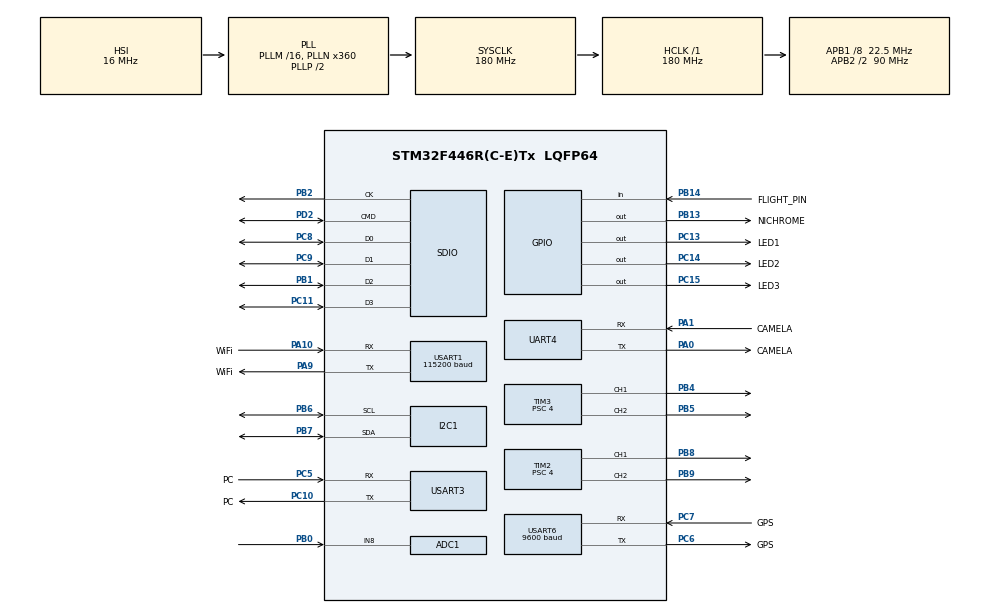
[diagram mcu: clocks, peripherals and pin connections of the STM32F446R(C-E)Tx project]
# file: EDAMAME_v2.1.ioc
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ADC1.Channel-0\#ChannelRegularConversion=ADC_CHANNEL_8
ADC1.NbrOfConversionFlag=1
ADC1.Rank-0\#ChannelRegularConversion=1
ADC1.SamplingTime-0\#ChannelRegularConversion=ADC_SAMPLETIME_3CYCLES
ADC1.master=1
FATFS._CODE_PAGE=1
FATFS._FS_LOCK=4
I2C1.I2C_Mode=I2C_Fast
Mcu.Family=STM32F4
Mcu.Name=STM32F446R(C-E)Tx
Mcu.Package=LQFP64
NVIC.PriorityGroup=NVIC_PRIORITYGROUP_4
NVIC.TIM5_IRQn=true\:0\:0\:false\:false\:true\:true\:true
PA0-WKUP.GPIO_Label=CAMELA
PA0-WKUP.Mode=Asynchronous
PA0-WKUP.Signal=UART4_TX
PA1.GPIO_Label=CAMELA
PA1.Mode=Asynchronous
PA1.Signal=UART4_RX
PA10.GPIO_Label=WiFi
PA10.Mode=Asynchronous
PA10.Signal=USART1_RX
PA13.Mode=Serial_Wire
PA13.Signal=SYS_JTMS-SWDIO
PA14.Mode=Serial_Wire
PA14.Signal=SYS_JTCK-SWCLK
PA9.GPIO_Label=WiFi
PA9.Mode=Asynchronous
PA9.Signal=USART1_TX
PB0.Signal=ADCx_IN8
PB1.GPIO_PuPd=GPIO_PULLUP
PB1.Mode=SD_4_bits_Wide_bus
PB1.Signal=SDIO_D2
PB13.GPIO_Label=NICHROME
PB13.Signal=GPIO_Output
PB14.GPIO_Label=FLIGHT_PIN
PB14.Signal=GPIO_Input
PB2.GPIO_PuPd=GPIO_PULLUP
PB2.Mode=SD_4_bits_Wide_bus
PB2.Signal=SDIO_CK
PB3.Signal=SYS_JTDO-SWO
PB4.Signal=S_TIM3_CH1
PB5.Signal=S_TIM3_CH2
PB6.Mode=I2C
PB6.Signal=I2C1_SCL
PB7.Mode=I2C
PB7.Signal=I2C1_SDA
PB8.Signal=S_TIM2_CH1_ETR
PB9.Signal=S_TIM2_CH2
PC10.GPIO_Label=PC
PC10.Mode=Asynchronous
PC10.Signal=USART3_TX
PC11.GPIO_PuPd=GPIO_PULLUP
PC11.Mode=SD_4_bits_Wide_bus
PC11.Signal=SDIO_D3
PC13.GPIO_Label=LED1
PC13.Signal=GPIO_Output
PC14-OSC32_IN.GPIO_Label=LED2
PC14-OSC32_IN.Signal=GPIO_Output
PC15-OSC32_OUT.GPIO_Label=LED3
PC15-OSC32_OUT.Signal=GPIO_Output
PC5.GPIO_Label=PC
PC5.Mode=Asynchronous
PC5.Signal=USART3_RX
PC6.GPIO_Label=GPS
PC6.Mode=Asynchronous
PC6.Signal=USART6_TX
PC7.GPIO_Label=GPS
PC7.Mode=Asynchronous
PC7.Signal=USART6_RX
PC8.GPIO_PuPd=GPIO_PULLUP
PC8.Mode=SD_4_bits_Wide_bus
PC8.Signal=SDIO_D0
PC9.GPIO_PuPd=GPIO_PULLUP
PC9.Mode=SD_4_bits_Wide_bus
PC9.Signal=SDIO_D1
PD2.GPIO_PuPd=GPIO_PULLUP
PD2.Mode=SD_4_bits_Wide_bus
PD2.Signal=SDIO_CMD
ProjectManager.HeapSize=0x200
ProjectManager.StackSize=0x400
ProjectManager.TargetToolchain=TrueSTUDIO
RCC.AHBFreq_Value=180000000
RCC.APB1CLKDivider=RCC_HCLK_DIV8
RCC.APB1Freq_Value=22500000
RCC.APB1TimFreq_Value=45000000
RCC.APB2CLKDivider=RCC_HCLK_DIV2
RCC.APB2Freq_Value=90000000
RCC.APB2TimFreq_Value=180000000
RCC.CortexFreq_Value=180000000
RCC.HCLKFreq_Value=180000000
RCC.PLLN=360
RCC.PLLQ=15
RCC.PLLSAIN=180
RCC.SYSCLKFreq_VALUE=180000000
RCC.SYSCLKSource=RCC_SYSCLKSOURCE_PLLCLK
RCC.USBFreq_Value=24000000
RCC.VCOOutputFreq_Value=360000000
SDIO.ClockDiv=3
SH.ADCx_IN8.0=ADC1_IN8,IN8
SH.S_TIM2_CH1_ETR.0=TIM2_CH1,PWM Generation1 CH1
SH.S_TIM2_CH2.0=TIM2_CH2,PWM Generation2 CH2
SH.S_TIM3_CH1.0=TIM3_CH1,PWM Generation1 CH1
SH.S_TIM3_CH2.0=TIM3_CH2,PWM Generation2 CH2
TIM2.Channel-PWM\ Generation1\ CH1=TIM_CHANNEL_1
TIM2.Channel-PWM\ Generation2\ CH2=TIM_CHANNEL_2
TIM2.Period=300
TIM2.Prescaler=4
TIM3.Channel-PWM\ Generation1\ CH1=TIM_CHANNEL_1
TIM3.Channel-PWM\ Generation2\ CH2=TIM_CHANNEL_2
TIM3.Period=300
TIM3.Prescaler=4
TIM5.AutoReloadPreload=TIM_AUTORELOAD_PRELOAD_ENABLE
TIM5.Period=LOOP_TIME
TIM5.Prescaler=45000
UART4.VirtualMode=Asynchronous
USART1.BaudRate=115200
USART1.VirtualMode=VM_ASYNC
USART3.VirtualMode=VM_ASYNC
USART6.BaudRate=9600
USART6.VirtualMode=VM_ASYNC
VP_FATFS_VS_SDIO.Mode=SDIO
VP_TIM5_VS_ClockSourceINT.Mode=Internal
board=EDAMAME

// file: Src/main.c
/* USER CODE BEGIN Header */
/**
  ******************************************************************************
  * @file           : main.c
  * @brief          : Main program body
  ******************************************************************************
  * @attention
  *
  * <h2><center>&copy; Copyright (c) 2019 STMicroelectronics.
  * All rights reserved.</center></h2>
  *
  * This software component is licensed by ST under Ultimate Liberty license
  * SLA0044, the "License"; You may not use this file except in compliance with
  * the License. You may obtain a copy of the License at:
  *                             www.st.com/SLA0044
  *
  ******************************************************************************
  */
/* USER CODE END Header */

#include "main.h"
#include "fatfs.h"

/* USER CODE BEGIN Includes */
#include "edamame.h"
/* USER CODE END Includes */

ADC_HandleTypeDef hadc1;

I2C_HandleTypeDef hi2c1;

SD_HandleTypeDef hsd;

TIM_HandleTypeDef htim2;
TIM_HandleTypeDef htim3;
TIM_HandleTypeDef htim5;

UART_HandleTypeDef huart4;
UART_HandleTypeDef huart1;
UART_HandleTypeDef huart3;
UART_HandleTypeDef huart6;

/* USER CODE BEGIN PV */
/* Private variables ---------------------------------------------------------*/
#ifdef __GNUC__
#define PUTCHAR_PROTOTYPE int __io_putchar(int ch)
#else
#define PUTCHAR_PROTOTYPE int fputc(int ch, FILE *f)
#endif /* __GNUC__ */
void __io_putchar(uint8_t ch) {
	HAL_UART_Transmit(&huart3, &ch, 1, 1);
}

/* USER CODE END PV */

void SystemClock_Config(void);
static void MX_GPIO_Init(void);
static void MX_UART4_Init(void);
static void MX_USART6_UART_Init(void);
static void MX_USART1_UART_Init(void);
static void MX_TIM2_Init(void);
static void MX_TIM3_Init(void);
static void MX_I2C1_Init(void);
static void MX_SDIO_SD_Init(void);
static void MX_USART3_UART_Init(void);
static void MX_TIM5_Init(void);
static void MX_ADC1_Init(void);
/* USER CODE BEGIN PFP */
/* Private function prototypes -----------------------------------------------*/

/* USER CODE END PFP */

/* USER CODE BEGIN 0 */
void apply(myCansat *data) {
	int L = data->motor_L;
	int R = data->motor_R;

	if (L > 0) {
		__HAL_TIM_SetCompare(&htim2, TIM_CHANNEL_1, L);
		__HAL_TIM_SetCompare(&htim2, TIM_CHANNEL_2, 0);
	} else {
		__HAL_TIM_SetCompare(&htim2, TIM_CHANNEL_1, 0);
		__HAL_TIM_SetCompare(&htim2, TIM_CHANNEL_2, -L);
	}

	if (R > 0) {
		__HAL_TIM_SetCompare(&htim3, TIM_CHANNEL_1, 0);
		__HAL_TIM_SetCompare(&htim3, TIM_CHANNEL_2, R);
	} else {
		__HAL_TIM_SetCompare(&htim3, TIM_CHANNEL_1, -R);
		__HAL_TIM_SetCompare(&htim3, TIM_CHANNEL_2, 0);
	}

	HAL_GPIO_WritePin(NICHROME_GPIO_Port, NICHROME_Pin, data->nichrome);
	return;
}

int time_overflow = 0;
void HAL_TIM_PeriodElapsedCallback(TIM_HandleTypeDef *htim) {
	if (htim == &htim5) {
		__HAL_TIM_SetCompare(&htim2, TIM_CHANNEL_1, 0);
		__HAL_TIM_SetCompare(&htim2, TIM_CHANNEL_2, 0);
		__HAL_TIM_SetCompare(&htim3, TIM_CHANNEL_1, 0);
		__HAL_TIM_SetCompare(&htim3, TIM_CHANNEL_2, 0);
		time_overflow++;
		printf("%d\n",time_overflow);
	}
}

int get_battery() {
	int v;
	HAL_ADC_Start(&hadc1);
	HAL_ADC_PollForConversion(&hadc1, 100);
	v = HAL_ADC_GetValue(&hadc1);
	HAL_ADC_Stop(&hadc1);
	v = v * 10000 / 3101;
	return v;
}
/* USER CODE END 0 */

int main(void)
{

  /* MCU Configuration--------------------------------------------------------*/

  /* Reset of all peripherals, Initializes the Flash interface and the Systick. */
  HAL_Init();

  /* Configure the system clock */
  SystemClock_Config();

  /* Initialize all configured peripherals */
  MX_GPIO_Init();
  MX_UART4_Init();
  MX_USART6_UART_Init();
  MX_USART1_UART_Init();
  MX_TIM2_Init();
  MX_TIM3_Init();
  MX_I2C1_Init();
  MX_SDIO_SD_Init();
  MX_USART3_UART_Init();
  MX_FATFS_Init();
  MX_TIM5_Init();
  MX_ADC1_Init();
  /* USER CODE BEGIN 2 */

	myCansat cansat;

	cansat.i2c = &hi2c1;
	cansat.uart_gps = &huart6;
	cansat.uart_wifi = &huart1;

	cansat.camera.uart_port = &huart4;
	cansat.camera.packet_size = 256;
	cansat.camera.baudrate = 460800;
	cansat.camera.resolution = QVGA;

	//PWM初期化
	HAL_TIM_PWM_Start(&htim2, TIM_CHANNEL_1);
	HAL_TIM_PWM_Start(&htim2, TIM_CHANNEL_2);
	HAL_TIM_PWM_Start(&htim3, TIM_CHANNEL_1);
	HAL_TIM_PWM_Start(&htim3, TIM_CHANNEL_2);
	__HAL_TIM_SetCompare(&htim2, TIM_CHANNEL_1, 0);
	__HAL_TIM_SetCompare(&htim2, TIM_CHANNEL_2, 0);
	__HAL_TIM_SetCompare(&htim3, TIM_CHANNEL_1, 0);
	__HAL_TIM_SetCompare(&htim3, TIM_CHANNEL_2, 0);

	//初期化
	init(&cansat);
	HAL_TIM_Base_Start_IT(&htim5);

	cansat.jpeg.mode = ENABLE;

	if (HAL_GPIO_ReadPin(FLIGHT_PIN_GPIO_Port, FLIGHT_PIN_Pin) == GPIO_PIN_RESET) {
		cansat.mode = 0;
	} else {
		cansat.mode = 2;
	}

  /* USER CODE END 2 */

  /* Infinite loop */
  /* USER CODE BEGIN WHILE */
	unsigned long cnt = 1;

	int xp=0; //画像検出時の1つ前の回転状態
	int dc[5];//重心の変化量(過去5回)
	int xc_p = 0, yc_p = 0;//１つ前の重心
	int n =0;
	while (1) {
    /* USER CODE END WHILE */

    /* USER CODE BEGIN 3 */

		TIM5->CNT = 0;
		update(&cansat);
		cansat.voltage = get_battery();

		if (cansat.gps_data.mode >= 1) {
			HAL_GPIO_TogglePin(LED3_GPIO_Port, LED3_Pin);
		}

		//cansat.mode =0;
		switch (cansat.mode) {

		case 0: //待機
			cansat.jpeg.mode = DISABLE;
			if (cansat.flightPin == GPIO_PIN_SET) {
				cansat.mode++;
				cnt = 0;
			}
			break;

		case 1: //落下・分離
			cansat.jpeg.mode = ENABLE;
			if (cnt >= DROP_TIME * (1000 / LOOP_TIME)) {

				cansat.nichrome = GPIO_PIN_SET;

				if (cnt > (DROP_TIME + 1)*(1000 / LOOP_TIME)) {
					cansat.nichrome = GPIO_PIN_RESET;
					cansat.mode++;
					cnt = 0;
				}
			}
			break;

		case 2: //キャリブレーション
			cansat.jpeg.mode = DISABLE;
			calibration(&cansat, 30, cnt);
			if (cansat.mode != 2) {
				cansat.jpeg.mode = ENABLE;

				cnt = 0;
			}
			break;

		case 3://誘導
			cansat.jpeg.mode = ENABLE;
			if (cansat.gps_data.mode >= 1) {
				if (cansat.arg < -1.3) {
					cansat.motor_L = 100;
					cansat.motor_R = 150;
				}
				if (-1.3 <= cansat.arg && cansat.arg < -0.3) {
					cansat.motor_L = 120;
					cansat.motor_R = 170;
				}
				if (-0.3 <= cansat.arg && cansat.arg < +0.3) {
					cansat.motor_L = 170;
					cansat.motor_R = 170;
				}
				if (+0.3 <= cansat.arg && cansat.arg < +1.3) {
					cansat.motor_L = 170;
					cansat.motor_R = 120;
				}
				if (+1.3 <= cansat.arg) {
					cansat.motor_L = 150;
					cansat.motor_R = 100;
				}
			} else {
				cansat.motor_L = 80;
				cansat.motor_R = 120;
			}
			if (cansat.gps_data.dist < GOAL_ALEA2) {
				cansat.motor_L = 0;
				cansat.motor_R = 0;
				cansat.mode++;
				cnt = 0;
			}
			break;

		case 4://画像認識
			decode(&cansat);
			if (cansat.jpeg.s > 0) {	//カラーコーンを見つけた場合
				if (cansat.jpeg.s > SQUARE) {
					//右
					if (cansat.jpeg.xc < 60) {
						xp = 1;
						cansat.motor_L = 100;
						cansat.motor_R = 80;
					}
					//やや右
					if (cansat.jpeg.xc >= 60 && cansat.jpeg.xc < 120) {
						xp = 1;
						cansat.motor_L = 120;
						cansat.motor_R = 115;
					}
					//中央
					if (cansat.jpeg.xc >= 120 && cansat.jpeg.xc < 200) {
						xp = 0;
						cansat.motor_L = 120;
						cansat.motor_R = 120;
					}
					//やや左
					if (cansat.jpeg.xc >= 200 && cansat.jpeg.xc < 260) {
						xp = -1;
						cansat.motor_L = 105;
						cansat.motor_R = 115;
					}
					//左
					if (cansat.jpeg.xc >= 260) {
						xp = -1;
						cansat.motor_L = 80;
						cansat.motor_R = 100;
					}

					//ゴール判定
					dc[4] = dc[3]; dc[3] = dc[2]; dc[2] = dc[1]; dc[1] = dc[0];
					dc[0] = (xc_p - cansat.jpeg.xc)*(xc_p - cansat.jpeg.xc) + (yc_p - cansat.jpeg.yc)*(yc_p - cansat.jpeg.yc);
					xc_p = cansat.jpeg.xc;
					yc_p = cansat.jpeg.yc;
					if (n > 5) {
						int dc_sum = dc[0] + dc[1] + dc[2] + dc[3] + dc[4];
						if (dc_sum < GOAL)break;
					}
					n++;

				} else {
					if (xp == 1) {
						cansat.motor_R = 85;
						cansat.motor_L = 95;
					} else {
						cansat.motor_R = 95;
						cansat.motor_L = 85;
					}
				}

			} else {	//無かった場合
				cansat.jpeg.xc = -1;
				cansat.jpeg.yc = -1;
				if (xp == 1) {
					cansat.motor_R = 80;
					cansat.motor_L = 100;
				} else {
					cansat.motor_R = 80;
					cansat.motor_L = 100;
				}
			}
			break;

		case 5://ゴール
			cansat.motor_L = 0;
			cansat.motor_R = 0;
			cansat.nichrome = 0;
			HAL_GPIO_TogglePin(LED2_GPIO_Port, LED2_Pin);

		default:
			cansat.motor_L = 0;
			cansat.motor_R = 0;
			cansat.nichrome = 0;
			break;
		}

		apply(&cansat);

		cnt++;
		write(&cansat);
		print(&cansat);
		if (time_overflow == 0) {
			while (TIM5->CNT < LOOP_TIME);
		}
		time_overflow = 0;
		HAL_GPIO_TogglePin(LED1_GPIO_Port, LED1_Pin);
	}
  /* USER CODE END 3 */
}

void SystemClock_Config(void)
{
  RCC_OscInitTypeDef RCC_OscInitStruct = {0};
  RCC_ClkInitTypeDef RCC_ClkInitStruct = {0};
  RCC_PeriphCLKInitTypeDef PeriphClkInitStruct = {0};

  /** Configure the main internal regulator output voltage
  */
  __HAL_RCC_PWR_CLK_ENABLE();
  __HAL_PWR_VOLTAGESCALING_CONFIG(PWR_REGULATOR_VOLTAGE_SCALE1);
  /** Initializes the CPU, AHB and APB busses clocks
  */
  RCC_OscInitStruct.OscillatorType = RCC_OSCILLATORTYPE_HSI;
  RCC_OscInitStruct.HSIState = RCC_HSI_ON;
  RCC_OscInitStruct.HSICalibrationValue = RCC_HSICALIBRATION_DEFAULT;
  RCC_OscInitStruct.PLL.PLLState = RCC_PLL_ON;
  RCC_OscInitStruct.PLL.PLLSource = RCC_PLLSOURCE_HSI;
  RCC_OscInitStruct.PLL.PLLM = 16;
  RCC_OscInitStruct.PLL.PLLN = 360;
  RCC_OscInitStruct.PLL.PLLP = RCC_PLLP_DIV2;
  RCC_OscInitStruct.PLL.PLLQ = 15;
  RCC_OscInitStruct.PLL.PLLR = 2;
  if (HAL_RCC_OscConfig(&RCC_OscInitStruct) != HAL_OK)
  {
    Error_Handler();
  }
  /** Activate the Over-Drive mode
  */
  if (HAL_PWREx_EnableOverDrive() != HAL_OK)
  {
    Error_Handler();
  }
  /** Initializes the CPU, AHB and APB busses clocks
  */
  RCC_ClkInitStruct.ClockType = RCC_CLOCKTYPE_HCLK|RCC_CLOCKTYPE_SYSCLK
                              |RCC_CLOCKTYPE_PCLK1|RCC_CLOCKTYPE_PCLK2;
  RCC_ClkInitStruct.SYSCLKSource = RCC_SYSCLKSOURCE_PLLCLK;
  RCC_ClkInitStruct.AHBCLKDivider = RCC_SYSCLK_DIV1;
  RCC_ClkInitStruct.APB1CLKDivider = RCC_HCLK_DIV8;
  RCC_ClkInitStruct.APB2CLKDivider = RCC_HCLK_DIV2;

  if (HAL_RCC_ClockConfig(&RCC_ClkInitStruct, FLASH_LATENCY_5) != HAL_OK)
  {
    Error_Handler();
  }
  PeriphClkInitStruct.PeriphClockSelection = RCC_PERIPHCLK_SDIO|RCC_PERIPHCLK_CLK48;
  PeriphClkInitStruct.Clk48ClockSelection = RCC_CLK48CLKSOURCE_PLLQ;
  PeriphClkInitStruct.SdioClockSelection = RCC_SDIOCLKSOURCE_CLK48;
  if (HAL_RCCEx_PeriphCLKConfig(&PeriphClkInitStruct) != HAL_OK)
  {
    Error_Handler();
  }
}

static void MX_ADC1_Init(void)
{

  ADC_ChannelConfTypeDef sConfig = {0};

  /** Configure the global features of the ADC (Clock, Resolution, Data Alignment and number of conversion)
  */
  hadc1.Instance = ADC1;
  hadc1.Init.ClockPrescaler = ADC_CLOCK_SYNC_PCLK_DIV4;
  hadc1.Init.Resolution = ADC_RESOLUTION_12B;
  hadc1.Init.ScanConvMode = DISABLE;
  hadc1.Init.ContinuousConvMode = DISABLE;
  hadc1.Init.DiscontinuousConvMode = DISABLE;
  hadc1.Init.ExternalTrigConvEdge = ADC_EXTERNALTRIGCONVEDGE_NONE;
  hadc1.Init.ExternalTrigConv = ADC_SOFTWARE_START;
  hadc1.Init.DataAlign = ADC_DATAALIGN_RIGHT;
  hadc1.Init.NbrOfConversion = 1;
  hadc1.Init.DMAContinuousRequests = DISABLE;
  hadc1.Init.EOCSelection = ADC_EOC_SINGLE_CONV;
  if (HAL_ADC_Init(&hadc1) != HAL_OK)
  {
    Error_Handler();
  }
  /** Configure for the selected ADC regular channel its corresponding rank in the sequencer and its sample time.
  */
  sConfig.Channel = ADC_CHANNEL_8;
  sConfig.Rank = 1;
  sConfig.SamplingTime = ADC_SAMPLETIME_3CYCLES;
  if (HAL_ADC_ConfigChannel(&hadc1, &sConfig) != HAL_OK)
  {
    Error_Handler();
  }

}

static void MX_I2C1_Init(void)
{

  hi2c1.Instance = I2C1;
  hi2c1.Init.ClockSpeed = 400000;
  hi2c1.Init.DutyCycle = I2C_DUTYCYCLE_2;
  hi2c1.Init.OwnAddress1 = 0;
  hi2c1.Init.AddressingMode = I2C_ADDRESSINGMODE_7BIT;
  hi2c1.Init.DualAddressMode = I2C_DUALADDRESS_DISABLE;
  hi2c1.Init.OwnAddress2 = 0;
  hi2c1.Init.GeneralCallMode = I2C_GENERALCALL_DISABLE;
  hi2c1.Init.NoStretchMode = I2C_NOSTRETCH_DISABLE;
  if (HAL_I2C_Init(&hi2c1) != HAL_OK)
  {
    Error_Handler();
  }

}

static void MX_SDIO_SD_Init(void)
{

  hsd.Instance = SDIO;
  hsd.Init.ClockEdge = SDIO_CLOCK_EDGE_RISING;
  hsd.Init.ClockBypass = SDIO_CLOCK_BYPASS_DISABLE;
  hsd.Init.ClockPowerSave = SDIO_CLOCK_POWER_SAVE_DISABLE;
  hsd.Init.BusWide = SDIO_BUS_WIDE_1B;
  hsd.Init.HardwareFlowControl = SDIO_HARDWARE_FLOW_CONTROL_DISABLE;
  hsd.Init.ClockDiv = 3;

}

static void MX_TIM2_Init(void)
{

  TIM_MasterConfigTypeDef sMasterConfig = {0};
  TIM_OC_InitTypeDef sConfigOC = {0};

  htim2.Instance = TIM2;
  htim2.Init.Prescaler = 4;
  htim2.Init.CounterMode = TIM_COUNTERMODE_UP;
  htim2.Init.Period = 300;
  htim2.Init.ClockDivision = TIM_CLOCKDIVISION_DIV1;
  htim2.Init.AutoReloadPreload = TIM_AUTORELOAD_PRELOAD_DISABLE;
  if (HAL_TIM_PWM_Init(&htim2) != HAL_OK)
  {
    Error_Handler();
  }
  sMasterConfig.MasterOutputTrigger = TIM_TRGO_RESET;
  sMasterConfig.MasterSlaveMode = TIM_MASTERSLAVEMODE_DISABLE;
  if (HAL_TIMEx_MasterConfigSynchronization(&htim2, &sMasterConfig) != HAL_OK)
  {
    Error_Handler();
  }
  sConfigOC.OCMode = TIM_OCMODE_PWM1;
  sConfigOC.Pulse = 0;
  sConfigOC.OCPolarity = TIM_OCPOLARITY_HIGH;
  sConfigOC.OCFastMode = TIM_OCFAST_DISABLE;
  if (HAL_TIM_PWM_ConfigChannel(&htim2, &sConfigOC, TIM_CHANNEL_1) != HAL_OK)
  {
    Error_Handler();
  }
  if (HAL_TIM_PWM_ConfigChannel(&htim2, &sConfigOC, TIM_CHANNEL_2) != HAL_OK)
  {
    Error_Handler();
  }
  HAL_TIM_MspPostInit(&htim2);

}

static void MX_TIM3_Init(void)
{

  TIM_MasterConfigTypeDef sMasterConfig = {0};
  TIM_OC_InitTypeDef sConfigOC = {0};

  htim3.Instance = TIM3;
  htim3.Init.Prescaler = 4;
  htim3.Init.CounterMode = TIM_COUNTERMODE_UP;
  htim3.Init.Period = 300;
  htim3.Init.ClockDivision = TIM_CLOCKDIVISION_DIV1;
  htim3.Init.AutoReloadPreload = TIM_AUTORELOAD_PRELOAD_DISABLE;
  if (HAL_TIM_PWM_Init(&htim3) != HAL_OK)
  {
    Error_Handler();
  }
  sMasterConfig.MasterOutputTrigger = TIM_TRGO_RESET;
  sMasterConfig.MasterSlaveMode = TIM_MASTERSLAVEMODE_DISABLE;
  if (HAL_TIMEx_MasterConfigSynchronization(&htim3, &sMasterConfig) != HAL_OK)
  {
    Error_Handler();
  }
  sConfigOC.OCMode = TIM_OCMODE_PWM1;
  sConfigOC.Pulse = 0;
  sConfigOC.OCPolarity = TIM_OCPOLARITY_HIGH;
  sConfigOC.OCFastMode = TIM_OCFAST_DISABLE;
  if (HAL_TIM_PWM_ConfigChannel(&htim3, &sConfigOC, TIM_CHANNEL_1) != HAL_OK)
  {
    Error_Handler();
  }
  if (HAL_TIM_PWM_ConfigChannel(&htim3, &sConfigOC, TIM_CHANNEL_2) != HAL_OK)
  {
    Error_Handler();
  }
  HAL_TIM_MspPostInit(&htim3);

}

static void MX_TIM5_Init(void)
{

  TIM_ClockConfigTypeDef sClockSourceConfig = {0};
  TIM_MasterConfigTypeDef sMasterConfig = {0};

  htim5.Instance = TIM5;
  htim5.Init.Prescaler = 45000;
  htim5.Init.CounterMode = TIM_COUNTERMODE_UP;
  htim5.Init.Period = LOOP_TIME;
  htim5.Init.ClockDivision = TIM_CLOCKDIVISION_DIV1;
  htim5.Init.AutoReloadPreload = TIM_AUTORELOAD_PRELOAD_ENABLE;
  if (HAL_TIM_Base_Init(&htim5) != HAL_OK)
  {
    Error_Handler();
  }
  sClockSourceConfig.ClockSource = TIM_CLOCKSOURCE_INTERNAL;
  if (HAL_TIM_ConfigClockSource(&htim5, &sClockSourceConfig) != HAL_OK)
  {
    Error_Handler();
  }
  sMasterConfig.MasterOutputTrigger = TIM_TRGO_RESET;
  sMasterConfig.MasterSlaveMode = TIM_MASTERSLAVEMODE_DISABLE;
  if (HAL_TIMEx_MasterConfigSynchronization(&htim5, &sMasterConfig) != HAL_OK)
  {
    Error_Handler();
  }

}

static void MX_UART4_Init(void)
{

  huart4.Instance = UART4;
  huart4.Init.BaudRate = 115200;
  huart4.Init.WordLength = UART_WORDLENGTH_8B;
  huart4.Init.StopBits = UART_STOPBITS_1;
  huart4.Init.Parity = UART_PARITY_NONE;
  huart4.Init.Mode = UART_MODE_TX_RX;
  huart4.Init.HwFlowCtl = UART_HWCONTROL_NONE;
  huart4.Init.OverSampling = UART_OVERSAMPLING_16;
  if (HAL_UART_Init(&huart4) != HAL_OK)
  {
    Error_Handler();
  }

}

static void MX_USART1_UART_Init(void)
{

  huart1.Instance = USART1;
  huart1.Init.BaudRate = 115200;
  huart1.Init.WordLength = UART_WORDLENGTH_8B;
  huart1.Init.StopBits = UART_STOPBITS_1;
  huart1.Init.Parity = UART_PARITY_NONE;
  huart1.Init.Mode = UART_MODE_TX_RX;
  huart1.Init.HwFlowCtl = UART_HWCONTROL_NONE;
  huart1.Init.OverSampling = UART_OVERSAMPLING_16;
  if (HAL_UART_Init(&huart1) != HAL_OK)
  {
    Error_Handler();
  }

}

static void MX_USART3_UART_Init(void)
{

  huart3.Instance = USART3;
  huart3.Init.BaudRate = 115200;
  huart3.Init.WordLength = UART_WORDLENGTH_8B;
  huart3.Init.StopBits = UART_STOPBITS_1;
  huart3.Init.Parity = UART_PARITY_NONE;
  huart3.Init.Mode = UART_MODE_TX_RX;
  huart3.Init.HwFlowCtl = UART_HWCONTROL_NONE;
  huart3.Init.OverSampling = UART_OVERSAMPLING_16;
  if (HAL_UART_Init(&huart3) != HAL_OK)
  {
    Error_Handler();
  }

}

static void MX_USART6_UART_Init(void)
{

  huart6.Instance = USART6;
  huart6.Init.BaudRate = 9600;
  huart6.Init.WordLength = UART_WORDLENGTH_8B;
  huart6.Init.StopBits = UART_STOPBITS_1;
  huart6.Init.Parity = UART_PARITY_NONE;
  huart6.Init.Mode = UART_MODE_TX_RX;
  huart6.Init.HwFlowCtl = UART_HWCONTROL_NONE;
  huart6.Init.OverSampling = UART_OVERSAMPLING_16;
  if (HAL_UART_Init(&huart6) != HAL_OK)
  {
    Error_Handler();
  }

}

static void MX_GPIO_Init(void)
{
  GPIO_InitTypeDef GPIO_InitStruct = {0};

  /* GPIO Ports Clock Enable */
  __HAL_RCC_GPIOC_CLK_ENABLE();
  __HAL_RCC_GPIOA_CLK_ENABLE();
  __HAL_RCC_GPIOB_CLK_ENABLE();
  __HAL_RCC_GPIOD_CLK_ENABLE();

  /*Configure GPIO pin Output Level */
  HAL_GPIO_WritePin(GPIOC, LED1_Pin|LED2_Pin|LED3_Pin, GPIO_PIN_RESET);

  /*Configure GPIO pin Output Level */
  HAL_GPIO_WritePin(NICHROME_GPIO_Port, NICHROME_Pin, GPIO_PIN_RESET);

  /*Configure GPIO pins : LED1_Pin LED2_Pin LED3_Pin */
  GPIO_InitStruct.Pin = LED1_Pin|LED2_Pin|LED3_Pin;
  GPIO_InitStruct.Mode = GPIO_MODE_OUTPUT_PP;
  GPIO_InitStruct.Pull = GPIO_NOPULL;
  GPIO_InitStruct.Speed = GPIO_SPEED_FREQ_LOW;
  HAL_GPIO_Init(GPIOC, &GPIO_InitStruct);

  /*Configure GPIO pin : NICHROME_Pin */
  GPIO_InitStruct.Pin = NICHROME_Pin;
  GPIO_InitStruct.Mode = GPIO_MODE_OUTPUT_PP;
  GPIO_InitStruct.Pull = GPIO_NOPULL;
  GPIO_InitStruct.Speed = GPIO_SPEED_FREQ_LOW;
  HAL_GPIO_Init(NICHROME_GPIO_Port, &GPIO_InitStruct);

  /*Configure GPIO pin : FLIGHT_PIN_Pin */
  GPIO_InitStruct.Pin = FLIGHT_PIN_Pin;
  GPIO_InitStruct.Mode = GPIO_MODE_INPUT;
  GPIO_InitStruct.Pull = GPIO_NOPULL;
  HAL_GPIO_Init(FLIGHT_PIN_GPIO_Port, &GPIO_InitStruct);

}

void Error_Handler(void)
{
	while (1) {
	}
}

/************************ (C) COPYRIGHT STMicroelectronics *****END OF FILE****/
